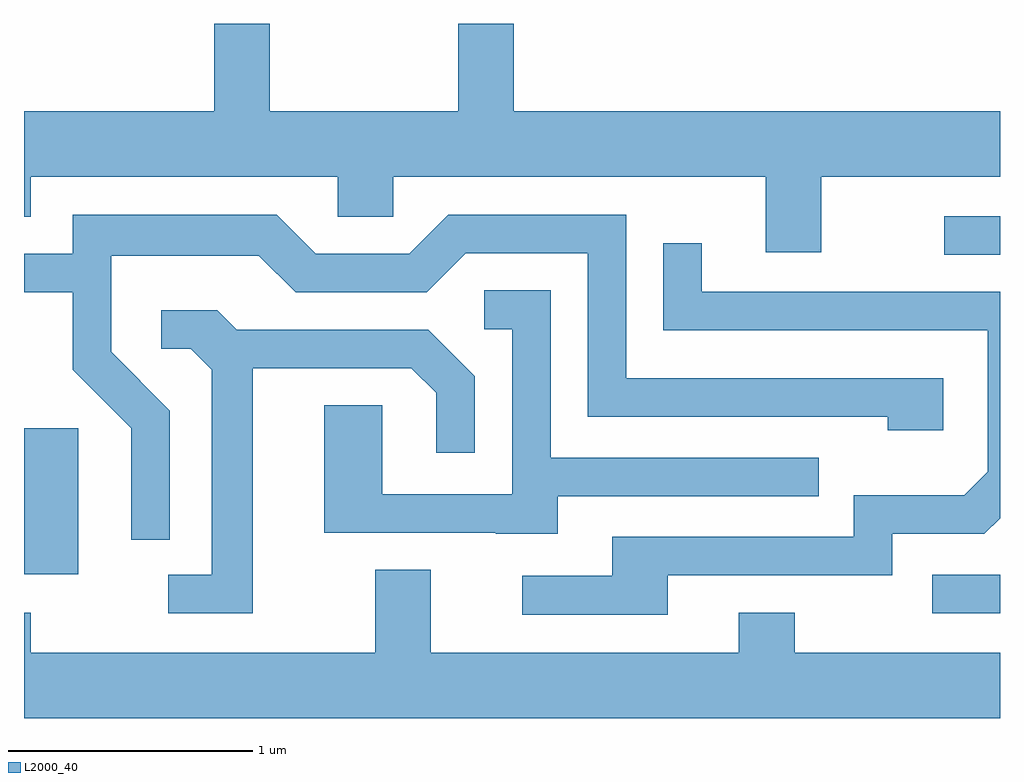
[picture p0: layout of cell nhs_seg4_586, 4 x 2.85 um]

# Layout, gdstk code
import gdstk
lib = gdstk.Library(unit=1e-6, precision=1e-09)
def R(c, l, rs):  # rectangles x0, y0, x1, y1
    for r in rs: c.add(gdstk.rectangle(r[:2], r[2:], *l))
def P(c, l, *ps):  # polygons
    for p in ps: c.add(gdstk.Polygon(p, *l))
L2000_40 = (2000, 40)

nhs_seg4_586 = lib.new_cell('nhs_seg4_586')
R(nhs_seg4_586, L2000_40, [(205.333,1339.566,205.611,1339.724), (201.611,1339.726,201.834,1340.324), (205.383,1341.036,205.611,1341.194)])
P(nhs_seg4_586, L2000_40, [(204.879,1341.356),(205.611,1341.356),(205.611,1341.624),(203.619,1341.624),(203.619,1341.982),(203.391,1341.982),(203.391,1341.624),(202.619,1341.624),(202.619,1341.982),(202.391,1341.982),(202.391,1341.624),(201.611,1341.624),(201.611,1341.191),(201.639,1341.191),(201.639,1341.356),(202.896,1341.356),(202.896,1341.191),(203.124,1341.191),(203.124,1341.356),(204.651,1341.356),(204.651,1341.046),(204.879,1341.046)],
  [(202.209,1340.397),(201.969,1340.637),(201.969,1341.031),(202.574,1341.031),(202.724,1340.881),(203.262,1340.881),(203.422,1341.041),(203.921,1341.041),(203.921,1340.371),(205.151,1340.371),(205.151,1340.316),(205.379,1340.316),(205.379,1340.529),(204.079,1340.529),(204.079,1341.199),(203.349,1341.199),(203.189,1341.039),(202.807,1341.039),(202.647,1341.199),(201.811,1341.199),(201.811,1341.039),(201.611,1341.039),(201.611,1340.881),(201.811,1340.881),(201.811,1340.564),(202.051,1340.324),(202.051,1339.868),(202.209,1339.868)],
  [(204.249,1339.721),(205.169,1339.721),(205.169,1339.891),(205.547,1339.891),(205.611,1339.955),(205.611,1340.884),(204.389,1340.884),(204.389,1341.083),(204.231,1341.083),(204.231,1340.726),(205.561,1340.726),(205.561,1340.147),(205.464,1340.049),(205.011,1340.049),(205.011,1339.879),(204.021,1339.879),(204.021,1339.719),(203.653,1339.719),(203.653,1339.561),(204.249,1339.561)],
  [(203.799,1340.046),(204.868,1340.046),(204.868,1340.204),(203.769,1340.204),(203.769,1340.889),(203.498,1340.889),(203.498,1340.731),(203.611,1340.731),(203.611,1340.054),(203.079,1340.054),(203.079,1340.419),(202.841,1340.419),(202.841,1339.896),(203.545,1339.896),(203.545,1339.891),(203.799,1339.891)],
  [(202.549,1340.571),(203.199,1340.571),(203.301,1340.469),(203.301,1340.223),(203.459,1340.223),(203.459,1340.537),(203.267,1340.729),(202.482,1340.729),(202.402,1340.809),(202.173,1340.809),(202.173,1340.651),(202.294,1340.651),(202.381,1340.564),(202.381,1339.724),(202.203,1339.724),(202.203,1339.566),(202.549,1339.566)],
  [(205.611,1339.404),(204.769,1339.404),(204.769,1339.569),(204.541,1339.569),(204.541,1339.404),(203.279,1339.404),(203.279,1339.744),(203.051,1339.744),(203.051,1339.404),(201.639,1339.404),(201.639,1339.569),(201.611,1339.569),(201.611,1339.136),(205.611,1339.136)])

lib.write_gds('nhs_seg4_586.gds')
